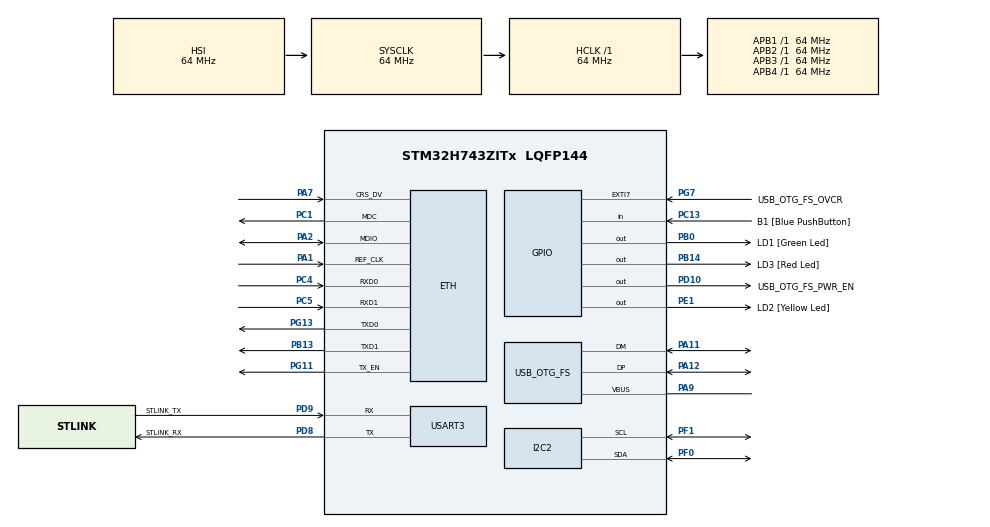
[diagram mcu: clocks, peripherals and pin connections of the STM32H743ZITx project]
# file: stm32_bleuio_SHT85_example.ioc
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ETH.MediaInterface=HAL_ETH_RMII_MODE
Mcu.Family=STM32H7
Mcu.Name=STM32H743ZITx
Mcu.Package=LQFP144
NVIC.I2C2_ER_IRQn=true\:0\:0\:false\:false\:true\:true\:true
NVIC.I2C2_EV_IRQn=true\:0\:0\:false\:false\:true\:true\:true
NVIC.OTG_FS_EP1_IN_IRQn=true\:0\:0\:false\:false\:true\:true\:true
NVIC.OTG_FS_EP1_OUT_IRQn=true\:0\:0\:false\:false\:true\:true\:true
NVIC.OTG_FS_IRQn=true\:0\:0\:false\:false\:true\:true\:true
NVIC.PriorityGroup=NVIC_PRIORITYGROUP_4
NVIC.TIM6_DAC_IRQn=true\:0\:0\:false\:false\:true\:true\:true
NVIC.USART3_IRQn=true\:0\:0\:false\:false\:true\:true\:true
PA1.Mode=RMII
PA1.Signal=ETH_REF_CLK
PA11.Mode=Host_Only
PA11.Signal=USB_OTG_FS_DM
PA12.Mode=Host_Only
PA12.Signal=USB_OTG_FS_DP
PA2.Mode=RMII
PA2.Signal=ETH_MDIO
PA7.Mode=RMII
PA7.Signal=ETH_CRS_DV
PA8.Signal=USB_OTG_FS_SOF
PA9.Mode=Activate_VBUS
PA9.Signal=USB_OTG_FS_VBUS
PB0.GPIO_Label=LD1 [Green Led]
PB0.Signal=GPIO_Output
PB13.Mode=RMII
PB13.Signal=ETH_TXD1
PB14.GPIO_Label=LD3 [Red Led]
PB14.Signal=GPIO_Output
PC1.Mode=RMII
PC1.Signal=ETH_MDC
PC13.GPIO_Label=B1 [Blue PushButton]
PC13.Signal=GPIO_Input
PC14-OSC32_IN\ (OSC32_IN).Mode=LSE-External-Oscillator
PC14-OSC32_IN\ (OSC32_IN).Signal=RCC_OSC32_IN
PC15-OSC32_OUT\ (OSC32_OUT).Mode=LSE-External-Oscillator
PC15-OSC32_OUT\ (OSC32_OUT).Signal=RCC_OSC32_OUT
PC4.Mode=RMII
PC4.Signal=ETH_RXD0
PC5.Mode=RMII
PC5.Signal=ETH_RXD1
PD10.GPIO_Label=USB_OTG_FS_PWR_EN
PD10.Signal=GPIO_Output
PD8.GPIO_Label=STLINK_RX
PD8.Mode=Asynchronous
PD8.Signal=USART3_TX
PD9.GPIO_Label=STLINK_TX
PD9.Mode=Asynchronous
PD9.Signal=USART3_RX
PE1.GPIO_Label=LD2 [Yellow Led]
PE1.Signal=GPIO_Output
PF0.GPIO_Pu=GPIO_PULLUP
PF0.Mode=I2C
PF0.Signal=I2C2_SDA
PF1.GPIO_Pu=GPIO_PULLUP
PF1.Mode=I2C
PF1.Signal=I2C2_SCL
PG11.Mode=RMII
PG11.Signal=ETH_TX_EN
PG13.Mode=RMII
PG13.Signal=ETH_TXD0
PG7.GPIO_Label=USB_OTG_FS_OVCR
PG7.Signal=GPXTI7
PH0-OSC_IN\ (PH0).Mode=HSE-External-Clock-Source
PH0-OSC_IN\ (PH0).Signal=RCC_OSC_IN
PH1-OSC_OUT\ (PH1).Signal=RCC_OSC_OUT
ProjectManager.HeapSize=0x200
ProjectManager.StackSize=0x400
ProjectManager.TargetToolchain=STM32CubeIDE
RCC.ADCFreq_Value=16125000
RCC.APB1Freq_Value=64000000
RCC.APB2Freq_Value=64000000
RCC.APB3Freq_Value=64000000
RCC.APB4Freq_Value=64000000
RCC.CortexFreq_Value=64000000
RCC.DIVM1=1
RCC.DIVN1=24
RCC.DIVQ1=4
RCC.HCLKFreq_Value=64000000
RCC.HSE_VALUE=8000000
RCC.PLLFRACN=0
RCC.PWR_Regulator_Voltage_Scale=PWR_REGULATOR_VOLTAGE_SCALE2
RCC.SYSCLKFreq_VALUE=64000000
RCC.USBFreq_Value=48000000
TIM6.AutoReloadPreload=TIM_AUTORELOAD_PRELOAD_ENABLE
TIM6.Period=10000 -1
TIM6.Prescaler=6400 -1
USART3.VirtualMode-Asynchronous=VM_ASYNC
USB_HOST.BSP.number=1
USB_HOST.USBH_HandleTypeDef-CDC_FS=hUsbHostFS
USB_HOST.VirtualModeFS=Cdc
USB_HOST0.BSP.STBoard=false
USB_HOST0.BSP.api=Unknown
USB_HOST0.BSP.i2caddr=0
USB_HOST0.BSP.instance=PD10
USB_HOST0.BSP.ip=GPIO
USB_HOST0.BSP.mode=Output
USB_HOST0.BSP.name=Drive_VBUS_FS
USB_HOST0.BSP.solution=PD10
USB_OTG_FS.VirtualMode=Host_Only
USB_OTG_FS.phy_itface=HCD_PHY_EMBEDDED
VP_TIM6_VS_ClockSourceINT.Mode=Enable_Timer
VP_USB_HOST_VS_USB_HOST_CDC_FS.Mode=CDC_FS
board=NUCLEO-H743ZI2

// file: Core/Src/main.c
/* USER CODE BEGIN Header */
/**
  ******************************************************************************
  * @file           : main.c
  * @brief          : Main program body
  ******************************************************************************
  * @attention
  *
  * <h2><center>&copy; Copyright (c) 2021 STMicroelectronics.
  * All rights reserved.</center></h2>
  *
  * This software component is licensed by ST under BSD 3-Clause license,
  * the "License"; You may not use this file except in compliance with the
  * License. You may obtain a copy of the License at:
  *                        opensource.org/licenses/BSD-3-Clause
  *
  ******************************************************************************
  */
/* USER CODE END Header */
#include "main.h"
#include "string.h"
#include "usb_host.h"

/* USER CODE BEGIN PTD */

// SHT85 defines
typedef enum {
  CMD_READ_SERIALNBR = 0x3780, // read serial number
  CMD_READ_STATUS    = 0xF32D, // read status register
  CMD_CLEAR_STATUS   = 0x3041, // clear status register
  CMD_HEATER_ENABLE  = 0x306D, // enabled heater
  CMD_HEATER_DISABLE = 0x3066, // disable heater
  CMD_SOFT_RESET     = 0x30A2, // soft reset
  CMD_MEAS_SINGLE_H  = 0x2400, // single meas., high repeatability
  CMD_MEAS_SINGLE_M  = 0x240B, // single meas., medium repeatability
  CMD_MEAS_SINGLE_L  = 0x2416, // single meas., low repeatability
  CMD_MEAS_PERI_05_H = 0x2032, // periodic meas. 0.5 mps, high repeatability
  CMD_MEAS_PERI_05_M = 0x2024, // periodic meas. 0.5 mps, medium repeatability
  CMD_MEAS_PERI_05_L = 0x202F, // periodic meas. 0.5 mps, low repeatability
  CMD_MEAS_PERI_1_H  = 0x2130, // periodic meas. 1 mps, high repeatability
  CMD_MEAS_PERI_1_M  = 0x2126, // periodic meas. 1 mps, medium repeatability
  CMD_MEAS_PERI_1_L  = 0x212D, // periodic meas. 1 mps, low repeatability
  CMD_MEAS_PERI_2_H  = 0x2236, // periodic meas. 2 mps, high repeatability
  CMD_MEAS_PERI_2_M  = 0x2220, // periodic meas. 2 mps, medium repeatability
  CMD_MEAS_PERI_2_L  = 0x222B, // periodic meas. 2 mps, low repeatability
  CMD_MEAS_PERI_4_H  = 0x2334, // periodic meas. 4 mps, high repeatability
  CMD_MEAS_PERI_4_M  = 0x2322, // periodic meas. 4 mps, medium repeatability
  CMD_MEAS_PERI_4_L  = 0x2329, // periodic meas. 4 mps, low repeatability
  CMD_MEAS_PERI_10_H = 0x2737, // periodic meas. 10 mps, high repeatability
  CMD_MEAS_PERI_10_M = 0x2721, // periodic meas. 10 mps, medium repeatability
  CMD_MEAS_PERI_10_L = 0x272A, // periodic meas. 10 mps, low repeatability
  CMD_FETCH_DATA     = 0xE000, // readout measurements for periodic mode
  CMD_BREAK          = 0x3093, // stop periodic measurement
} etCommands;

// Single Shot Measurement Repeatability
typedef enum {
  SINGLE_MEAS_LOW        = CMD_MEAS_SINGLE_L, // low repeatability
  SINGLE_MEAS_MEDIUM     = CMD_MEAS_SINGLE_M, // medium repeatability
  SINGLE_MEAS_HIGH       = CMD_MEAS_SINGLE_H  // high repeatability
} etSingleMeasureModes;

// Periodic Measurement Configurations
typedef enum {
  PERI_MEAS_LOW_05_HZ    = CMD_MEAS_PERI_05_L,
  PERI_MEAS_LOW_1_HZ     = CMD_MEAS_PERI_1_L,
  PERI_MEAS_LOW_2_HZ     = CMD_MEAS_PERI_2_L,
  PERI_MEAS_LOW_4_HZ     = CMD_MEAS_PERI_4_L,
  PERI_MEAS_LOW_10_HZ    = CMD_MEAS_PERI_10_L,
  PERI_MEAS_MEDIUM_05_HZ = CMD_MEAS_PERI_05_M,
  PERI_MEAS_MEDIUM_1_HZ  = CMD_MEAS_PERI_1_M,
  PERI_MEAS_MEDIUM_2_HZ  = CMD_MEAS_PERI_2_M,
  PERI_MEAS_MEDIUM_4_HZ  = CMD_MEAS_PERI_4_M,
  PERI_MEAS_MEDIUM_10_HZ = CMD_MEAS_PERI_10_M,
  PERI_MEAS_HIGH_05_HZ   = CMD_MEAS_PERI_05_H,
  PERI_MEAS_HIGH_1_HZ    = CMD_MEAS_PERI_1_H,
  PERI_MEAS_HIGH_2_HZ    = CMD_MEAS_PERI_2_H,
  PERI_MEAS_HIGH_4_HZ    = CMD_MEAS_PERI_4_H,
  PERI_MEAS_HIGH_10_HZ   = CMD_MEAS_PERI_10_H,
} etPeriodicMeasureModes;

// Error codes
typedef enum{
  NO_ERROR       = 0x00, // no error
  ACK_ERROR      = 0x01, // no acknowledgment error
  CHECKSUM_ERROR = 0x02, // checksum mismatch error
  TIMEOUT_ERROR  = 0x04, // timeout error
} etError;

/* USER CODE END PTD */

/* USER CODE BEGIN PD */
#define RXBUFFERSIZE                     1

#define BLEUIO_NOT_READY_MSG	"\r\nBleuIO not ready yet.\r\n"

// Dongle commands
#define DONGLE_CMD_ATI "ATI\r\n"
#define DONGLE_CMD_AT_ADVSTART "AT+ADVSTART\r\n"
#define DONGLE_CMD_AT_ADVSTOP "AT+ADVSTOP\r\n"
/* USER CODE END PD */

#if defined ( __ICCARM__ ) /*!< IAR Compiler */

#pragma location=0x30040000
ETH_DMADescTypeDef  DMARxDscrTab[ETH_RX_DESC_CNT]; /* Ethernet Rx DMA Descriptors */
#pragma location=0x30040060
ETH_DMADescTypeDef  DMATxDscrTab[ETH_TX_DESC_CNT]; /* Ethernet Tx DMA Descriptors */
#pragma location=0x30040200
uint8_t Rx_Buff[ETH_RX_DESC_CNT][ETH_MAX_PACKET_SIZE]; /* Ethernet Receive Buffers */

#elif defined ( __CC_ARM )  /* MDK ARM Compiler */

__attribute__((at(0x30040000))) ETH_DMADescTypeDef  DMARxDscrTab[ETH_RX_DESC_CNT]; /* Ethernet Rx DMA Descriptors */
__attribute__((at(0x30040060))) ETH_DMADescTypeDef  DMATxDscrTab[ETH_TX_DESC_CNT]; /* Ethernet Tx DMA Descriptors */
__attribute__((at(0x30040200))) uint8_t Rx_Buff[ETH_RX_DESC_CNT][ETH_MAX_PACKET_SIZE]; /* Ethernet Receive Buffer */

#elif defined ( __GNUC__ ) /* GNU Compiler */

ETH_DMADescTypeDef DMARxDscrTab[ETH_RX_DESC_CNT] __attribute__((section(".RxDecripSection"))); /* Ethernet Rx DMA Descriptors */
ETH_DMADescTypeDef DMATxDscrTab[ETH_TX_DESC_CNT] __attribute__((section(".TxDecripSection")));   /* Ethernet Tx DMA Descriptors */
uint8_t Rx_Buff[ETH_RX_DESC_CNT][ETH_MAX_PACKET_SIZE] __attribute__((section(".RxArraySection"))); /* Ethernet Receive Buffers */

#endif

ETH_TxPacketConfig TxConfig;

ETH_HandleTypeDef heth;

I2C_HandleTypeDef hi2c2;

TIM_HandleTypeDef htim6;

UART_HandleTypeDef huart3;

/* USER CODE BEGIN PV */
#define CRC_POLYNOMIAL  0x131 // P(x) = x^8 + x^5 + x^4 + 1 = 100110001
#define I2C_ADDR        0x44

static float CalcTemperature(uint16_t rawValue);
static float CalcHumidity(uint16_t rawValue);
void WriteCommand(etCommands command);
void SHT85_ReadStatus(uint16_t* status);
void SHT85_ReadSerialNumber(uint32_t* serialNumber);
void SHT85_SingleMeasurment(float* temperature, float* humidity,
                               etSingleMeasureModes measureMode,
                               uint8_t timeout);

uint8_t revbuff[10]={0,};
uint32_t serialNumber;   // serial number
uint16_t SHt85_status;   // serial number
float    temperature;    // temperature
float    humidity;
HAL_StatusTypeDef err0r;

static int systemTime;
static char uart_tx_buf[250];
int uart_buf_len;
bool isBleuIOReady;
/* USER CODE END PV */

void SystemClock_Config(void);
static void MX_GPIO_Init(void);
static void MX_ETH_Init(void);
static void MX_USART3_UART_Init(void);
static void MX_I2C2_Init(void);
static void MX_TIM6_Init(void);
void MX_USB_HOST_Process(void);

/* USER CODE BEGIN PFP */

void i2c_bus_scan(I2C_HandleTypeDef hi2c);

/* USER CODE END PFP */

int main(void)
{

  /* MCU Configuration--------------------------------------------------------*/

  /* Reset of all peripherals, Initializes the Flash interface and the Systick. */
  HAL_Init();

  /* Configure the system clock */
  SystemClock_Config();

  /* Initialize all configured peripherals */
  MX_GPIO_Init();
  MX_ETH_Init();
  MX_USART3_UART_Init();
  MX_USB_HOST_Init();
  MX_I2C2_Init();
  MX_TIM6_Init();
  /* USER CODE BEGIN 2 */
  isBleuIOReady = false;

  // scan i2c bus 2 (external)
  i2c_bus_scan(hi2c2);
  HAL_Delay(1000);

  // Turns on all LEDs on start up
  HAL_GPIO_WritePin(GPIOB, GPIO_PIN_0, GPIO_PIN_SET);
  HAL_GPIO_WritePin(GPIOE, GPIO_PIN_1, GPIO_PIN_SET);
  HAL_GPIO_WritePin(GPIOB, GPIO_PIN_14, GPIO_PIN_SET);
  HAL_Delay(1000);

  // Turns off all LEDs except Red
  HAL_GPIO_WritePin(GPIOB, GPIO_PIN_0, GPIO_PIN_RESET);
  HAL_GPIO_WritePin(GPIOE, GPIO_PIN_1, GPIO_PIN_RESET);

  // Sends welcome message to uart
  uart_buf_len = sprintf(uart_tx_buf, "\r\nWelcome to the STM32 BleuIO SHT85 Example!\r\n");
  HAL_UART_Transmit(&huart3, (uint8_t *)uart_tx_buf, uart_buf_len, HAL_MAX_DELAY);

  //
  // SHT85 init
  //
  uint8_t sendbuff[2]={0,};
  sendbuff[0]=(uint8_t)(CMD_SOFT_RESET>>8);
  sendbuff[1]=(uint8_t)(CMD_SOFT_RESET& 0xFF);
  err0r=HAL_I2C_Master_Transmit(&hi2c2,(uint16_t)(I2C_ADDR<<1),sendbuff,2,HAL_MAX_DELAY);

  HAL_Delay(200); // in ms

  // Raed and print SHT85 Serial Number
  SHT85_ReadSerialNumber(&serialNumber);
  HAL_Delay(200); // in ms
  uart_buf_len = sprintf(uart_tx_buf,  "\r\nSensor SerialNumber: 0x%08X\r\n", (int)serialNumber);
  HAL_UART_Transmit(&huart3, (uint8_t *)uart_tx_buf, uart_buf_len, 100);
  HAL_Delay(200); // in ms
  bool advOn = false;
  char serialNr_str[10];
  char temp_str[10];
  char humidity_str[10];

   WriteCommand(PERI_MEAS_HIGH_1_HZ); // Set SHT85 read frequency

   HAL_TIM_Base_Start_IT(&htim6);
   systemTime = 25;
  /* USER CODE END 2 */

  /* Infinite loop */
  while (1)
  {
    MX_USB_HOST_Process();

    /* USER CODE BEGIN 3 */
    // Simple handler for uart input
    if(systemTime < 0)
    {
    	if(!advOn && isBleuIOReady)
    	{
    		writeToDongle((uint8_t*)DONGLE_CMD_AT_ADVSTART);
    		advOn = true;
    	} else
    	{
			SHT85_SingleMeasurment(&temperature, &humidity, SINGLE_MEAS_HIGH, 50);
			systemTime = 10;
			sprintf(serialNr_str, "%08X",(int) serialNumber);
			sprintf(temp_str, "%04X", (int)(temperature * 100));
			sprintf(humidity_str, "%04X",(int)(humidity * 100));
			uart_buf_len = sprintf(uart_tx_buf,  "AT+ADVDATA=0B:FF:5B:07:%c%c:%c%c:%c%c:%c%c:%c%c:%c%c:%c%c:%c%c\r\n",
					serialNr_str[0],serialNr_str[1],serialNr_str[2],serialNr_str[3],serialNr_str[4],serialNr_str[5],serialNr_str[6],serialNr_str[7],
					temp_str[0],temp_str[1],temp_str[2],temp_str[3],
					humidity_str[0],humidity_str[1],humidity_str[2],humidity_str[3]);
			if(isBleuIOReady)
			{
				writeToDongle((uint8_t *)uart_tx_buf);
			}
    	}
    }
  }
  /* USER CODE END 3 */
}

void SystemClock_Config(void)
{
  RCC_OscInitTypeDef RCC_OscInitStruct = {0};
  RCC_ClkInitTypeDef RCC_ClkInitStruct = {0};

  /** Supply configuration update enable
  */
  HAL_PWREx_ConfigSupply(PWR_LDO_SUPPLY);
  /** Configure the main internal regulator output voltage
  */
  __HAL_PWR_VOLTAGESCALING_CONFIG(PWR_REGULATOR_VOLTAGE_SCALE2);

  while(!__HAL_PWR_GET_FLAG(PWR_FLAG_VOSRDY)) {}
  /** Initializes the RCC Oscillators according to the specified parameters
  * in the RCC_OscInitTypeDef structure.
  */
  RCC_OscInitStruct.OscillatorType = RCC_OSCILLATORTYPE_HSI|RCC_OSCILLATORTYPE_HSE;
  RCC_OscInitStruct.HSEState = RCC_HSE_BYPASS;
  RCC_OscInitStruct.HSIState = RCC_HSI_DIV1;
  RCC_OscInitStruct.HSICalibrationValue = RCC_HSICALIBRATION_DEFAULT;
  RCC_OscInitStruct.PLL.PLLState = RCC_PLL_ON;
  RCC_OscInitStruct.PLL.PLLSource = RCC_PLLSOURCE_HSE;
  RCC_OscInitStruct.PLL.PLLM = 1;
  RCC_OscInitStruct.PLL.PLLN = 24;
  RCC_OscInitStruct.PLL.PLLP = 2;
  RCC_OscInitStruct.PLL.PLLQ = 4;
  RCC_OscInitStruct.PLL.PLLR = 2;
  RCC_OscInitStruct.PLL.PLLRGE = RCC_PLL1VCIRANGE_3;
  RCC_OscInitStruct.PLL.PLLVCOSEL = RCC_PLL1VCOWIDE;
  RCC_OscInitStruct.PLL.PLLFRACN = 0;
  if (HAL_RCC_OscConfig(&RCC_OscInitStruct) != HAL_OK)
  {
    Error_Handler();
  }
  /** Initializes the CPU, AHB and APB buses clocks
  */
  RCC_ClkInitStruct.ClockType = RCC_CLOCKTYPE_HCLK|RCC_CLOCKTYPE_SYSCLK
                              |RCC_CLOCKTYPE_PCLK1|RCC_CLOCKTYPE_PCLK2
                              |RCC_CLOCKTYPE_D3PCLK1|RCC_CLOCKTYPE_D1PCLK1;
  RCC_ClkInitStruct.SYSCLKSource = RCC_SYSCLKSOURCE_HSI;
  RCC_ClkInitStruct.SYSCLKDivider = RCC_SYSCLK_DIV1;
  RCC_ClkInitStruct.AHBCLKDivider = RCC_HCLK_DIV1;
  RCC_ClkInitStruct.APB3CLKDivider = RCC_APB3_DIV1;
  RCC_ClkInitStruct.APB1CLKDivider = RCC_APB1_DIV1;
  RCC_ClkInitStruct.APB2CLKDivider = RCC_APB2_DIV1;
  RCC_ClkInitStruct.APB4CLKDivider = RCC_APB4_DIV1;

  if (HAL_RCC_ClockConfig(&RCC_ClkInitStruct, FLASH_LATENCY_1) != HAL_OK)
  {
    Error_Handler();
  }
}

static void MX_ETH_Init(void)
{

   static uint8_t MACAddr[6];

  heth.Instance = ETH;
  MACAddr[0] = 0x00;
  MACAddr[1] = 0x80;
  MACAddr[2] = 0xE1;
  MACAddr[3] = 0x00;
  MACAddr[4] = 0x00;
  MACAddr[5] = 0x00;
  heth.Init.MACAddr = &MACAddr[0];
  heth.Init.MediaInterface = HAL_ETH_RMII_MODE;
  heth.Init.TxDesc = DMATxDscrTab;
  heth.Init.RxDesc = DMARxDscrTab;
  heth.Init.RxBuffLen = 1524;

  if (HAL_ETH_Init(&heth) != HAL_OK)
  {
    Error_Handler();
  }

  memset(&TxConfig, 0 , sizeof(ETH_TxPacketConfig));
  TxConfig.Attributes = ETH_TX_PACKETS_FEATURES_CSUM | ETH_TX_PACKETS_FEATURES_CRCPAD;
  TxConfig.ChecksumCtrl = ETH_CHECKSUM_IPHDR_PAYLOAD_INSERT_PHDR_CALC;
  TxConfig.CRCPadCtrl = ETH_CRC_PAD_INSERT;

}

static void MX_I2C2_Init(void)
{

  hi2c2.Instance = I2C2;
  hi2c2.Init.Timing = 0x10707DBC;
  hi2c2.Init.OwnAddress1 = 0;
  hi2c2.Init.AddressingMode = I2C_ADDRESSINGMODE_7BIT;
  hi2c2.Init.DualAddressMode = I2C_DUALADDRESS_DISABLE;
  hi2c2.Init.OwnAddress2 = 0;
  hi2c2.Init.OwnAddress2Masks = I2C_OA2_NOMASK;
  hi2c2.Init.GeneralCallMode = I2C_GENERALCALL_DISABLE;
  hi2c2.Init.NoStretchMode = I2C_NOSTRETCH_DISABLE;
  if (HAL_I2C_Init(&hi2c2) != HAL_OK)
  {
    Error_Handler();
  }
  /** Configure Analogue filter
  */
  if (HAL_I2CEx_ConfigAnalogFilter(&hi2c2, I2C_ANALOGFILTER_ENABLE) != HAL_OK)
  {
    Error_Handler();
  }
  /** Configure Digital filter
  */
  if (HAL_I2CEx_ConfigDigitalFilter(&hi2c2, 0) != HAL_OK)
  {
    Error_Handler();
  }

}

static void MX_TIM6_Init(void)
{

  TIM_MasterConfigTypeDef sMasterConfig = {0};

  htim6.Instance = TIM6;
  htim6.Init.Prescaler = 6400 -1;
  htim6.Init.CounterMode = TIM_COUNTERMODE_UP;
  htim6.Init.Period = 10000 -1;
  htim6.Init.AutoReloadPreload = TIM_AUTORELOAD_PRELOAD_ENABLE;
  if (HAL_TIM_Base_Init(&htim6) != HAL_OK)
  {
    Error_Handler();
  }
  sMasterConfig.MasterOutputTrigger = TIM_TRGO_RESET;
  sMasterConfig.MasterSlaveMode = TIM_MASTERSLAVEMODE_DISABLE;
  if (HAL_TIMEx_MasterConfigSynchronization(&htim6, &sMasterConfig) != HAL_OK)
  {
    Error_Handler();
  }

}

static void MX_USART3_UART_Init(void)
{

  huart3.Instance = USART3;
  huart3.Init.BaudRate = 115200;
  huart3.Init.WordLength = UART_WORDLENGTH_8B;
  huart3.Init.StopBits = UART_STOPBITS_1;
  huart3.Init.Parity = UART_PARITY_NONE;
  huart3.Init.Mode = UART_MODE_TX_RX;
  huart3.Init.HwFlowCtl = UART_HWCONTROL_NONE;
  huart3.Init.OverSampling = UART_OVERSAMPLING_16;
  huart3.Init.OneBitSampling = UART_ONE_BIT_SAMPLE_DISABLE;
  huart3.Init.ClockPrescaler = UART_PRESCALER_DIV1;
  huart3.AdvancedInit.AdvFeatureInit = UART_ADVFEATURE_NO_INIT;
  if (HAL_UART_Init(&huart3) != HAL_OK)
  {
    Error_Handler();
  }
  if (HAL_UARTEx_SetTxFifoThreshold(&huart3, UART_TXFIFO_THRESHOLD_1_8) != HAL_OK)
  {
    Error_Handler();
  }
  if (HAL_UARTEx_SetRxFifoThreshold(&huart3, UART_RXFIFO_THRESHOLD_1_8) != HAL_OK)
  {
    Error_Handler();
  }
  if (HAL_UARTEx_DisableFifoMode(&huart3) != HAL_OK)
  {
    Error_Handler();
  }

}

static void MX_GPIO_Init(void)
{
  GPIO_InitTypeDef GPIO_InitStruct = {0};

  /* GPIO Ports Clock Enable */
  __HAL_RCC_GPIOC_CLK_ENABLE();
  __HAL_RCC_GPIOF_CLK_ENABLE();
  __HAL_RCC_GPIOH_CLK_ENABLE();
  __HAL_RCC_GPIOA_CLK_ENABLE();
  __HAL_RCC_GPIOB_CLK_ENABLE();
  __HAL_RCC_GPIOD_CLK_ENABLE();
  __HAL_RCC_GPIOG_CLK_ENABLE();
  __HAL_RCC_GPIOE_CLK_ENABLE();

  /*Configure GPIO pin Output Level */
  HAL_GPIO_WritePin(GPIOB, LD1_Pin|LD3_Pin, GPIO_PIN_RESET);

  /*Configure GPIO pin Output Level */
  HAL_GPIO_WritePin(USB_OTG_FS_PWR_EN_GPIO_Port, USB_OTG_FS_PWR_EN_Pin, GPIO_PIN_RESET);

  /*Configure GPIO pin Output Level */
  HAL_GPIO_WritePin(LD2_GPIO_Port, LD2_Pin, GPIO_PIN_RESET);

  /*Configure GPIO pin : B1_Pin */
  GPIO_InitStruct.Pin = B1_Pin;
  GPIO_InitStruct.Mode = GPIO_MODE_INPUT;
  GPIO_InitStruct.Pull = GPIO_NOPULL;
  HAL_GPIO_Init(B1_GPIO_Port, &GPIO_InitStruct);

  /*Configure GPIO pins : LD1_Pin LD3_Pin */
  GPIO_InitStruct.Pin = LD1_Pin|LD3_Pin;
  GPIO_InitStruct.Mode = GPIO_MODE_OUTPUT_PP;
  GPIO_InitStruct.Pull = GPIO_NOPULL;
  GPIO_InitStruct.Speed = GPIO_SPEED_FREQ_LOW;
  HAL_GPIO_Init(GPIOB, &GPIO_InitStruct);

  /*Configure GPIO pin : USB_OTG_FS_PWR_EN_Pin */
  GPIO_InitStruct.Pin = USB_OTG_FS_PWR_EN_Pin;
  GPIO_InitStruct.Mode = GPIO_MODE_OUTPUT_PP;
  GPIO_InitStruct.Pull = GPIO_NOPULL;
  GPIO_InitStruct.Speed = GPIO_SPEED_FREQ_LOW;
  HAL_GPIO_Init(USB_OTG_FS_PWR_EN_GPIO_Port, &GPIO_InitStruct);

  /*Configure GPIO pin : USB_OTG_FS_OVCR_Pin */
  GPIO_InitStruct.Pin = USB_OTG_FS_OVCR_Pin;
  GPIO_InitStruct.Mode = GPIO_MODE_IT_RISING;
  GPIO_InitStruct.Pull = GPIO_NOPULL;
  HAL_GPIO_Init(USB_OTG_FS_OVCR_GPIO_Port, &GPIO_InitStruct);

  /*Configure GPIO pin : LD2_Pin */
  GPIO_InitStruct.Pin = LD2_Pin;
  GPIO_InitStruct.Mode = GPIO_MODE_OUTPUT_PP;
  GPIO_InitStruct.Pull = GPIO_NOPULL;
  GPIO_InitStruct.Speed = GPIO_SPEED_FREQ_LOW;
  HAL_GPIO_Init(LD2_GPIO_Port, &GPIO_InitStruct);

}

/* USER CODE BEGIN 4 */

// Callback: timer has rolled over
void HAL_TIM_PeriodElapsedCallback(TIM_HandleTypeDef *htim)
{
  // Check which version of the timer triggered this callback and add to systemTime counter.
  if (htim == &htim6 )
  {
	systemTime--;
  }
}

/**
  * @brief
  * @retval None
  */
void WriteCommand(etCommands command)
{
    uint8_t sendbuff[2]={0,};

    sendbuff[0]=(uint8_t)(command>>8);
    sendbuff[1]=(uint8_t)(command& 0xFF);

    err0r=  HAL_I2C_Master_Transmit(&hi2c2,(uint16_t)(I2C_ADDR<<1),sendbuff,2,HAL_MAX_DELAY);
    HAL_Delay(2); // in ms
}

/**
  * @brief The status register contains information on the operational status of the heater,
  *        the alert mode and on the execution
  *        status of the last command and the last write sequence.
  * @retval None
  */
void  SHT85_ReadStatus(uint16_t* status)
{
  uint8_t serialNumWords[10];

  *status =0;

    WriteCommand(CMD_READ_STATUS);

    err0r=HAL_I2C_Master_Receive(&hi2c2,(uint16_t)(I2C_ADDR<<1),serialNumWords, 6, HAL_MAX_DELAY);

    *status = (uint16_t)(serialNumWords[0] << 8) | serialNumWords[1];
}

/**
  * @brief
  * @retval None
  */
void  SHT85_ReadSerialNumber(uint32_t* serialNumber)
{
  uint8_t serialNumWords[10];
  uint16_t serialNumWordsHL[2]={0,};

    WriteCommand(CMD_READ_SERIALNBR);

    err0r=HAL_I2C_Master_Receive(&hi2c2,(uint16_t)(I2C_ADDR<<1),serialNumWords, 6, HAL_MAX_DELAY);

     serialNumWordsHL[0]= (uint16_t)(serialNumWords[0] << 8) | serialNumWords[1];
     serialNumWordsHL[1]=(uint16_t)(serialNumWords[2] << 8) | serialNumWords[3];
    *serialNumber = (serialNumWordsHL[0] << 16) | serialNumWordsHL[1];

}

/**
  * @brief Temperature conversion formula, result in °C
  * @retval None
  */
static float CalcTemperature(uint16_t rawValue)
{
  // calculate temperature [°C]
  // T = -45 + 175 * rawValue / (2^16-1)
  return 175.0f * (float)rawValue / 65535.0f - 45.0f;
}

/**
  * @brief  Relative humidity conversion formula (result in %RH):
  * @retval None
  */
static float CalcHumidity(uint16_t rawValue)
{
  // calculate relative humidity [%RH]
  // RH = rawValue / (2^16-1) * 100
  return 100.0f * (float)rawValue / 65535.0f;
}

/**
  * @brief
  * @retval None
  */
void SHT85_SingleMeasurment(float* temperature, float* humidity,
                               etSingleMeasureModes measureMode,
                               uint8_t timeout)
{
  uint16_t rawValueTemp;    // temperature raw value from sensor
  uint16_t rawValueHumi;    // humidity raw value from sensor
  uint8_t revbufff[10];

  *temperature = 0;
  *humidity = 0;

  WriteCommand((etCommands)measureMode);

  HAL_Delay(200); // in ms

  err0r= HAL_I2C_Master_Receive(&hi2c2,(uint16_t)(I2C_ADDR<<1),revbufff, 6, HAL_MAX_DELAY);

    rawValueTemp=(uint16_t)(revbufff[0] << 8) | revbufff[1];
    rawValueHumi=(uint16_t)(revbufff[3] << 8) | revbufff[4];

    *temperature = CalcTemperature(rawValueTemp);
    *humidity = CalcHumidity(rawValueHumi);

}

/** i2c_bus_scan
  * @brief  Function scans the devices connected to i2c bus.
  * @param  argument: Not used
  * @retval None
  */
void i2c_bus_scan(I2C_HandleTypeDef hi2c )
{
	int uart__len;
	int i,nr;
	HAL_StatusTypeDef res;

	uart__len = sprintf(uart_tx_buf,  "\r\n I2C bus Scan: \r\n ");

	HAL_UART_Transmit(&huart3, (uint8_t *)uart_tx_buf, uart__len, 100);

	// scan all i2c addresses
	for (i=1,nr=0; i<128; i++)
	{
	  	/*
	  	 * the HAL wants a left aligned i2c address
	  	 * &hi2c1 is the handle
	  	 * (uint16_t)(i<<1) is the i2c address left aligned
	  	 * retries 2
	  	 * timeout 2
	  	 */

	  	 res = HAL_I2C_IsDeviceReady(&hi2c, (uint16_t)(i<<1), 2, 2);

	  	 if (res != HAL_OK) // HAL_ERROR or HAL_BUSY or HAL_TIMEOUT
	  	 {
	  	 	 	 nr++;//
	  	 }

	  	 if (res == HAL_OK)
	  	 {
	  	 	 uart__len = sprintf(uart_tx_buf,  "0x%X \r\n", i);

	  		 HAL_UART_Transmit(&huart3, (uint8_t *)uart_tx_buf, uart__len, 100);

	  	 }
	  }

	  uart__len = sprintf(uart_tx_buf,  "scans 0x%X \r\n", nr);

	  HAL_UART_Transmit(&huart3, (uint8_t *)uart_tx_buf, uart__len, 100);
}

/* USER CODE END 4 */

void Error_Handler(void)
{
  __disable_irq();
  while (1)
  {
  }
}

/************************ (C) COPYRIGHT STMicroelectronics *****END OF FILE****/
